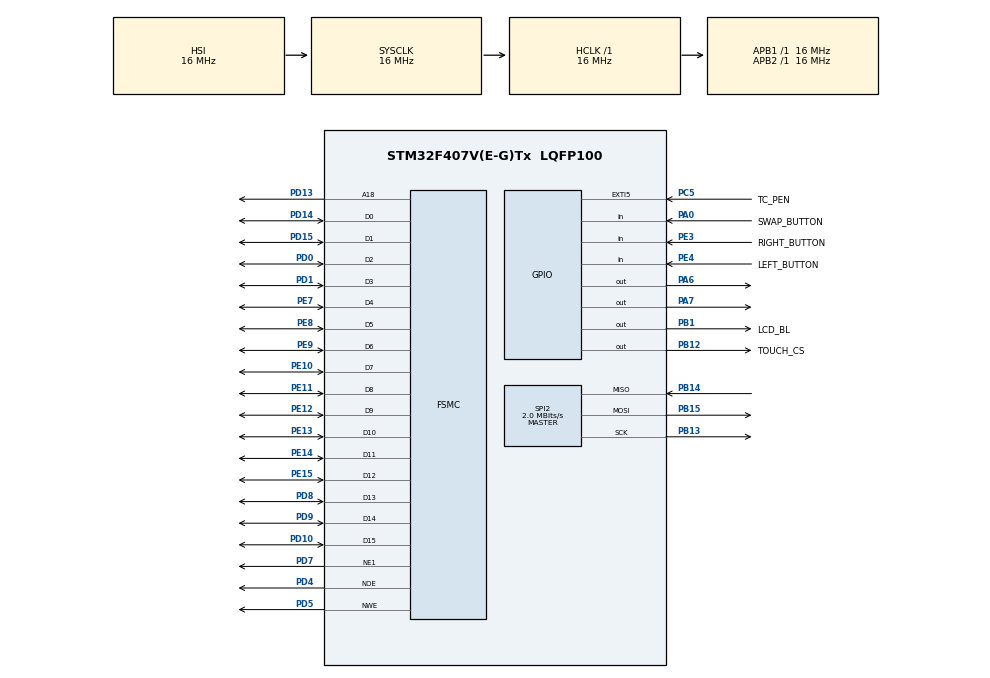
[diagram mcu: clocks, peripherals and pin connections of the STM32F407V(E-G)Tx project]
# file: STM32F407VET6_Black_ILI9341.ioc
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FSMC.AddressSetupTime1=1
FSMC.BusTurnAroundDuration1=0
FSMC.DataSetupTime1=5
Mcu.Family=STM32F4
Mcu.Name=STM32F407V(E-G)Tx
Mcu.Package=LQFP100
NVIC.PriorityGroup=NVIC_PRIORITYGROUP_4
PA0-WKUP.GPIO_Label=SWAP_BUTTON
PA0-WKUP.GPIO_PuPd=GPIO_PULLDOWN
PA0-WKUP.Signal=GPIO_Input
PA13.Mode=Trace_Asynchronous_SW
PA13.Signal=SYS_JTMS-SWDIO
PA14.Mode=Trace_Asynchronous_SW
PA14.Signal=SYS_JTCK-SWCLK
PA6.Signal=GPIO_Output
PA7.Signal=GPIO_Output
PB1.GPIO_Label=LCD_BL
PB1.Signal=GPIO_Output
PB12.GPIO_Label=TOUCH_CS
PB12.PinState=GPIO_PIN_SET
PB12.Signal=GPIO_Output
PB13.Mode=Full_Duplex_Master
PB13.Signal=SPI2_SCK
PB14.Mode=Full_Duplex_Master
PB14.Signal=SPI2_MISO
PB15.Mode=Full_Duplex_Master
PB15.Signal=SPI2_MOSI
PB3.Mode=Trace_Asynchronous_SW
PB3.Signal=SYS_JTDO-SWO
PC5.GPIO_Label=TC_PEN
PC5.Signal=GPXTI5
PD0.Mode=16b-d1
PD0.Signal=FSMC_D2
PD1.Mode=16b-d1
PD1.Signal=FSMC_D3
PD10.Mode=16b-d1
PD10.Signal=FSMC_D15
PD13.Mode=A18_1
PD13.Signal=FSMC_A18
PD14.Mode=16b-d1
PD14.Signal=FSMC_D0
PD15.Mode=16b-d1
PD15.Signal=FSMC_D1
PD4.Mode=Lcd1
PD4.Signal=FSMC_NOE
PD5.Mode=Lcd1
PD5.Signal=FSMC_NWE
PD7.Mode=NorPsramChipSelect1_1
PD7.Signal=FSMC_NE1
PD8.Mode=16b-d1
PD8.Signal=FSMC_D13
PD9.Mode=16b-d1
PD9.Signal=FSMC_D14
PE10.Mode=16b-d1
PE10.Signal=FSMC_D7
PE11.Mode=16b-d1
PE11.Signal=FSMC_D8
PE12.Mode=16b-d1
PE12.Signal=FSMC_D9
PE13.Mode=16b-d1
PE13.Signal=FSMC_D10
PE14.Mode=16b-d1
PE14.Signal=FSMC_D11
PE15.Mode=16b-d1
PE15.Signal=FSMC_D12
PE3.GPIO_Label=RIGHT_BUTTON
PE3.GPIO_PuPd=GPIO_PULLUP
PE3.Signal=GPIO_Input
PE4.GPIO_Label=LEFT_BUTTON
PE4.GPIO_PuPd=GPIO_PULLUP
PE4.Signal=GPIO_Input
PE7.Mode=16b-d1
PE7.Signal=FSMC_D4
PE8.Mode=16b-d1
PE8.Signal=FSMC_D5
PE9.Mode=16b-d1
PE9.Signal=FSMC_D6
ProjectManager.HeapSize=0x200
ProjectManager.StackSize=0x400
ProjectManager.TargetToolchain=TrueSTUDIO
RCC.AHBFreq_Value=16000000
RCC.APB1Freq_Value=16000000
RCC.APB2Freq_Value=16000000
RCC.CortexFreq_Value=16000000
RCC.HSE_VALUE=25000000
RCC.HSI_VALUE=16000000
RCC.LSE_VALUE=32768
RCC.SYSCLKFreq_VALUE=16000000
RCC.VCOOutputFreq_Value=192000000
SPI2.BaudRatePrescaler=SPI_BAUDRATEPRESCALER_8
SPI2.CalculateBaudRate=2.0 MBits/s
SPI2.DataSize=SPI_DATASIZE_16BIT
SPI2.Direction=SPI_DIRECTION_2LINES
SPI2.Mode=SPI_MODE_MASTER
SPI2.TIMode=SPI_TIMODE_DISABLE
SPI2.VirtualType=VM_MASTER
VP_RNG_VS_RNG.Mode=RNG_Activate
board=custom

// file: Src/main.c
/* USER CODE BEGIN Header */
/**
  ******************************************************************************
  * @file           : main.c
  * @brief          : Main program body
  ******************************************************************************
  * @attention
  *
  * <h2><center>&copy; Copyright (c) 2021 STMicroelectronics.
  * All rights reserved.</center></h2>
  *
  * This software component is licensed by ST under BSD 3-Clause license,
  * the "License"; You may not use this file except in compliance with the
  * License. You may obtain a copy of the License at:
  *                        opensource.org/licenses/BSD-3-Clause
  *
  ******************************************************************************
  */
/* USER CODE END Header */

#include "main.h"

/* USER CODE BEGIN Includes */
#include "ili9341.h"
#include "tetris_game_rules.h"
#include "xpt2046.h"
#include "stdio.h"
/* USER CODE END Includes */

/* USER CODE BEGIN PD */
#define min(a,b) (((a)<(b))?(a):(b))
/* USER CODE END PD */

RNG_HandleTypeDef hrng;

SPI_HandleTypeDef hspi2;

SRAM_HandleTypeDef hsram1;

void SystemClock_Config(void);
static void MX_GPIO_Init(void);
static void MX_FSMC_Init(void);
static void MX_RNG_Init(void);
static void MX_SPI2_Init(void);
/* USER CODE BEGIN PFP */
/* Private function prototypes -----------------------------------------------*/
void demoLCD(int i);
unsigned long testFillScreen();
unsigned long testText();
unsigned long testLines(uint16_t color);
unsigned long testFastLines(uint16_t color1, uint16_t color2);
unsigned long testRects(uint16_t color);
unsigned long testFilledRects(uint16_t color1, uint16_t color2);
unsigned long testFilledCircles(uint8_t radius, uint16_t color);
unsigned long testCircles(uint8_t radius, uint16_t color);
unsigned long testTriangles();
unsigned long testFilledTriangles();
unsigned long testRoundRects();
unsigned long testFilledRoundRects();
unsigned long testDrawImage();
/* USER CODE END PFP */

int main(void)
{

  /* MCU Configuration--------------------------------------------------------*/

  /* Reset of all peripherals, Initializes the Flash interface and the Systick. */
  HAL_Init();

  /* Configure the system clock */
  SystemClock_Config();

  /* Initialize all configured peripherals */
  MX_GPIO_Init();
  MX_FSMC_Init();
  MX_RNG_Init();
  MX_SPI2_Init();
  /* USER CODE BEGIN 2 */
  LCD_BL_ON();
  HAL_GPIO_WritePin(GPIOA, GPIO_PIN_6, GPIO_PIN_SET);
  HAL_GPIO_WritePin(GPIOA, GPIO_PIN_7, GPIO_PIN_RESET);
  lcdInit();
  lcdSetOrientation(LCD_ORIENTATION_PORTRAIT_MIRROR);
  xpt2046_spi(&hspi2);
  xpt2046_init();
  xpt2046_orientation(XPT2046_ORIENTATION_PORTRAIT_MIRROR);
  xpt2046_set_size(XPT2046_WIDTH, XPT2046_HEIGHT);
  uint32_t start = 0;
  int i = 0;

  startGame();

  /* USER CODE END 2 */

  /* Infinite loop */
  /* USER CODE BEGIN WHILE */
    while (1)
    {
    	if(start + 1000 < HAL_GetTick()){
    		HAL_GPIO_TogglePin(GPIOA,GPIO_PIN_6);
    	   	HAL_GPIO_TogglePin(GPIOA,GPIO_PIN_7);
    	   	start = HAL_GetTick();
    	}

    	runGame();

    	uint8_t swap = HAL_GPIO_ReadPin(SWAP_BUTTON_GPIO_Port,SWAP_BUTTON_Pin);
    	uint8_t right = !HAL_GPIO_ReadPin(RIGHT_BUTTON_GPIO_Port,RIGHT_BUTTON_Pin);
    	uint8_t left = !HAL_GPIO_ReadPin(LEFT_BUTTON_GPIO_Port,LEFT_BUTTON_Pin);
    	readSignals(swap,right,left,0);

    	char coortinates[4];
    	uint16_t x = 0,y = 0;
    	xpt2046_read_position(&x,&y);
    	if(x> 0 && y > 0)
    	{
    		readTouch(x,y,1);
    		sprintf(coortinates,"X:%06i",x);
			lcdSetCursor(180,200);
			lcdPrintf(coortinates);

			sprintf(coortinates,"Y:%06i",y);
			lcdSetCursor(180,215);
			lcdPrintf(coortinates);

			sprintf(coortinates,"Z:%06i",ts_Coordinates.z);
			lcdSetCursor(180,230);
			lcdPrintf(coortinates);
    	}else
    	{
    		readTouch(x,y,0);
    	}

//  	demoLCD(i);
  	    i++;

    /* USER CODE END WHILE */

    }
}

void SystemClock_Config(void)
{
  RCC_OscInitTypeDef RCC_OscInitStruct = {0};
  RCC_ClkInitTypeDef RCC_ClkInitStruct = {0};

  /** Configure the main internal regulator output voltage
  */
  __HAL_RCC_PWR_CLK_ENABLE();
  __HAL_PWR_VOLTAGESCALING_CONFIG(PWR_REGULATOR_VOLTAGE_SCALE1);
  /** Initializes the CPU, AHB and APB busses clocks
  */
  RCC_OscInitStruct.OscillatorType = RCC_OSCILLATORTYPE_HSI;
  RCC_OscInitStruct.HSIState = RCC_HSI_ON;
  RCC_OscInitStruct.HSICalibrationValue = RCC_HSICALIBRATION_DEFAULT;
  RCC_OscInitStruct.PLL.PLLState = RCC_PLL_ON;
  RCC_OscInitStruct.PLL.PLLSource = RCC_PLLSOURCE_HSI;
  RCC_OscInitStruct.PLL.PLLM = 16;
  RCC_OscInitStruct.PLL.PLLN = 192;
  RCC_OscInitStruct.PLL.PLLP = RCC_PLLP_DIV2;
  RCC_OscInitStruct.PLL.PLLQ = 4;
  if (HAL_RCC_OscConfig(&RCC_OscInitStruct) != HAL_OK)
  {
    Error_Handler();
  }
  /** Initializes the CPU, AHB and APB busses clocks
  */
  RCC_ClkInitStruct.ClockType = RCC_CLOCKTYPE_HCLK|RCC_CLOCKTYPE_SYSCLK
                              |RCC_CLOCKTYPE_PCLK1|RCC_CLOCKTYPE_PCLK2;
  RCC_ClkInitStruct.SYSCLKSource = RCC_SYSCLKSOURCE_HSI;
  RCC_ClkInitStruct.AHBCLKDivider = RCC_SYSCLK_DIV1;
  RCC_ClkInitStruct.APB1CLKDivider = RCC_HCLK_DIV1;
  RCC_ClkInitStruct.APB2CLKDivider = RCC_HCLK_DIV1;

  if (HAL_RCC_ClockConfig(&RCC_ClkInitStruct, FLASH_LATENCY_0) != HAL_OK)
  {
    Error_Handler();
  }
}

static void MX_RNG_Init(void)
{

  hrng.Instance = RNG;
  if (HAL_RNG_Init(&hrng) != HAL_OK)
  {
    Error_Handler();
  }

}

static void MX_SPI2_Init(void)
{

  /* SPI2 parameter configuration*/
  hspi2.Instance = SPI2;
  hspi2.Init.Mode = SPI_MODE_MASTER;
  hspi2.Init.Direction = SPI_DIRECTION_2LINES;
  hspi2.Init.DataSize = SPI_DATASIZE_16BIT;
  hspi2.Init.CLKPolarity = SPI_POLARITY_LOW;
  hspi2.Init.CLKPhase = SPI_PHASE_1EDGE;
  hspi2.Init.NSS = SPI_NSS_SOFT;
  hspi2.Init.BaudRatePrescaler = SPI_BAUDRATEPRESCALER_8;
  hspi2.Init.FirstBit = SPI_FIRSTBIT_MSB;
  hspi2.Init.TIMode = SPI_TIMODE_DISABLE;
  hspi2.Init.CRCCalculation = SPI_CRCCALCULATION_DISABLE;
  hspi2.Init.CRCPolynomial = 10;
  if (HAL_SPI_Init(&hspi2) != HAL_OK)
  {
    Error_Handler();
  }

}

static void MX_GPIO_Init(void)
{
  GPIO_InitTypeDef GPIO_InitStruct = {0};

  /* GPIO Ports Clock Enable */
  __HAL_RCC_GPIOE_CLK_ENABLE();
  __HAL_RCC_GPIOA_CLK_ENABLE();
  __HAL_RCC_GPIOC_CLK_ENABLE();
  __HAL_RCC_GPIOB_CLK_ENABLE();
  __HAL_RCC_GPIOD_CLK_ENABLE();

  /*Configure GPIO pin Output Level */
  HAL_GPIO_WritePin(GPIOA, GPIO_PIN_6|GPIO_PIN_7, GPIO_PIN_RESET);

  /*Configure GPIO pin Output Level */
  HAL_GPIO_WritePin(LCD_BL_GPIO_Port, LCD_BL_Pin, GPIO_PIN_RESET);

  /*Configure GPIO pin Output Level */
  HAL_GPIO_WritePin(TOUCH_CS_GPIO_Port, TOUCH_CS_Pin, GPIO_PIN_SET);

  /*Configure GPIO pins : RIGHT_BUTTON_Pin LEFT_BUTTON_Pin */
  GPIO_InitStruct.Pin = RIGHT_BUTTON_Pin|LEFT_BUTTON_Pin;
  GPIO_InitStruct.Mode = GPIO_MODE_INPUT;
  GPIO_InitStruct.Pull = GPIO_PULLUP;
  HAL_GPIO_Init(GPIOE, &GPIO_InitStruct);

  /*Configure GPIO pin : SWAP_BUTTON_Pin */
  GPIO_InitStruct.Pin = SWAP_BUTTON_Pin;
  GPIO_InitStruct.Mode = GPIO_MODE_INPUT;
  GPIO_InitStruct.Pull = GPIO_PULLDOWN;
  HAL_GPIO_Init(SWAP_BUTTON_GPIO_Port, &GPIO_InitStruct);

  /*Configure GPIO pins : PA6 PA7 */
  GPIO_InitStruct.Pin = GPIO_PIN_6|GPIO_PIN_7;
  GPIO_InitStruct.Mode = GPIO_MODE_OUTPUT_PP;
  GPIO_InitStruct.Pull = GPIO_NOPULL;
  GPIO_InitStruct.Speed = GPIO_SPEED_FREQ_LOW;
  HAL_GPIO_Init(GPIOA, &GPIO_InitStruct);

  /*Configure GPIO pin : TC_PEN_Pin */
  GPIO_InitStruct.Pin = TC_PEN_Pin;
  GPIO_InitStruct.Mode = GPIO_MODE_IT_RISING;
  GPIO_InitStruct.Pull = GPIO_NOPULL;
  HAL_GPIO_Init(TC_PEN_GPIO_Port, &GPIO_InitStruct);

  /*Configure GPIO pins : LCD_BL_Pin TOUCH_CS_Pin */
  GPIO_InitStruct.Pin = LCD_BL_Pin|TOUCH_CS_Pin;
  GPIO_InitStruct.Mode = GPIO_MODE_OUTPUT_PP;
  GPIO_InitStruct.Pull = GPIO_NOPULL;
  GPIO_InitStruct.Speed = GPIO_SPEED_FREQ_LOW;
  HAL_GPIO_Init(GPIOB, &GPIO_InitStruct);

}

/* FSMC initialization function */
static void MX_FSMC_Init(void)
{

  FSMC_NORSRAM_TimingTypeDef Timing = {0};

  /** Perform the SRAM1 memory initialization sequence
  */
  hsram1.Instance = FSMC_NORSRAM_DEVICE;
  hsram1.Extended = FSMC_NORSRAM_EXTENDED_DEVICE;
  /* hsram1.Init */
  hsram1.Init.NSBank = FSMC_NORSRAM_BANK1;
  hsram1.Init.DataAddressMux = FSMC_DATA_ADDRESS_MUX_DISABLE;
  hsram1.Init.MemoryType = FSMC_MEMORY_TYPE_SRAM;
  hsram1.Init.MemoryDataWidth = FSMC_NORSRAM_MEM_BUS_WIDTH_16;
  hsram1.Init.BurstAccessMode = FSMC_BURST_ACCESS_MODE_DISABLE;
  hsram1.Init.WaitSignalPolarity = FSMC_WAIT_SIGNAL_POLARITY_LOW;
  hsram1.Init.WrapMode = FSMC_WRAP_MODE_DISABLE;
  hsram1.Init.WaitSignalActive = FSMC_WAIT_TIMING_BEFORE_WS;
  hsram1.Init.WriteOperation = FSMC_WRITE_OPERATION_ENABLE;
  hsram1.Init.WaitSignal = FSMC_WAIT_SIGNAL_DISABLE;
  hsram1.Init.ExtendedMode = FSMC_EXTENDED_MODE_DISABLE;
  hsram1.Init.AsynchronousWait = FSMC_ASYNCHRONOUS_WAIT_DISABLE;
  hsram1.Init.WriteBurst = FSMC_WRITE_BURST_DISABLE;
  hsram1.Init.PageSize = FSMC_PAGE_SIZE_NONE;
  /* Timing */
  Timing.AddressSetupTime = 1;
  Timing.AddressHoldTime = 15;
  Timing.DataSetupTime = 5;
  Timing.BusTurnAroundDuration = 0;
  Timing.CLKDivision = 16;
  Timing.DataLatency = 17;
  Timing.AccessMode = FSMC_ACCESS_MODE_A;
  /* ExtTiming */

  if (HAL_SRAM_Init(&hsram1, &Timing, NULL) != HAL_OK)
  {
    Error_Handler( );
  }

}

void Error_Handler(void)
{
}

/************************ (C) COPYRIGHT STMicroelectronics *****END OF FILE****/
